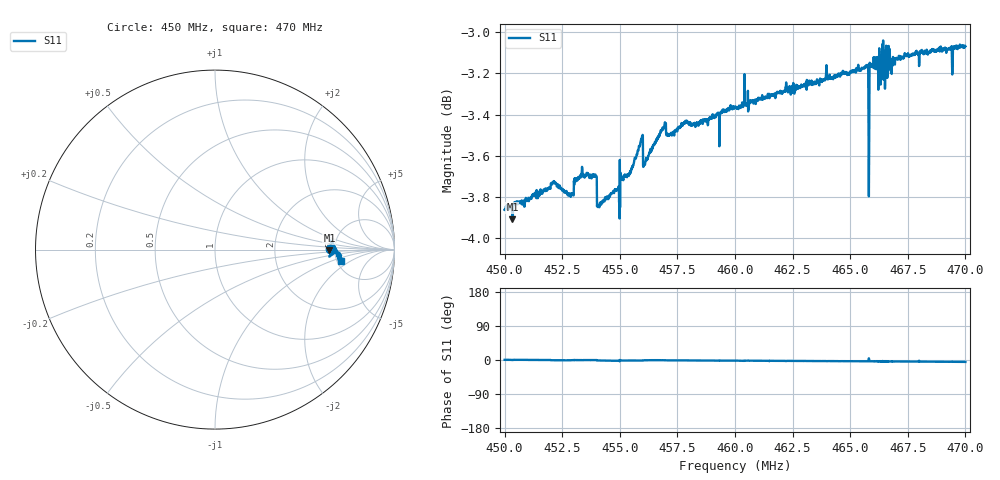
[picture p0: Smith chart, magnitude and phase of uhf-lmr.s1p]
! Calibrated averaged scanner-service zoom
# Hz S RI R 50
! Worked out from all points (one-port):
!   2001 points, 450 MHz to 470 MHz, reference 50 ohm
!   lowest |S11| = -3.9 dB at 450.34 MHz (marker M1), VSWR 4.52, Z = 226 - j2.16 ohm
!   |S11| at or under -10 dB: nowhere
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4.5e8  0.641 0.0052
4.5034e8  0.6376 -0.00284
4.519e8  0.6489 0.00131
4.5211e8  0.6507 -0.00739
4.525e8  0.6479 -0.00892
4.529e8  0.6468 -0.00679
4.5311e8  0.6516 -0.00208
4.539e8  0.653 -0.00267
4.5411e8  0.6418 -0.014
4.5475e8  0.6466 -0.0229
4.55e8  0.6588 -0.0232
4.5511e8  0.6527 -0.0169
4.5548e8  0.6551 -0.0161
4.559e8  0.6654 -0.017
4.5611e8  0.6583 -0.008
4.5639e8  0.6634 -0.00523
4.569e8  0.6711 -0.00624
4.575e8  0.6705 -0.0106
4.6e8  0.6786 -0.0209
4.625e8  0.6858 -0.0301
4.65e8  0.6911 -0.0384
4.6568e8  0.6931 -0.041
4.6573e8  0.6935 -0.041
4.6589e8  0.6931 -0.0425
4.6594e8  0.6939 -0.0426
4.675e8  0.6976 -0.0489
4.6798e8  0.6979 -0.0492
4.7e8  0.6997 -0.0622
